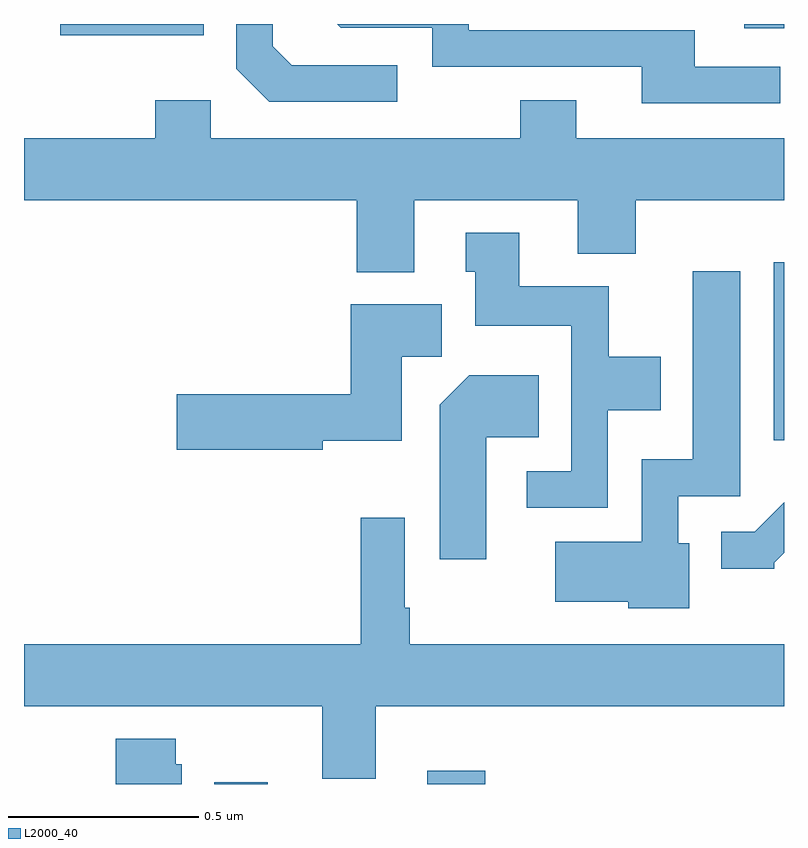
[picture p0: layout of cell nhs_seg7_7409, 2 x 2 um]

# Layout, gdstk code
import gdstk
lib = gdstk.Library(unit=1e-6, precision=1e-09)
def R(c, l, rs):  # rectangles x0, y0, x1, y1
    for r in rs: c.add(gdstk.rectangle(r[:2], r[2:], *l))
def P(c, l, *ps):  # polygons
    for p in ps: c.add(gdstk.Polygon(p, *l))
L2000_40 = (2000, 40)

nhs_seg7_7409 = lib.new_cell('nhs_seg7_7409')
R(nhs_seg7_7409, L2000_40, [(210.5,1079,210.642,1079.005), (211.061,1079,211.214,1079.035), (211.973,1079.904,212,1080.373), (210.096,1080.971,210.473,1081), (211.895,1080.989,212,1081)])
P(nhs_seg7_7409, L2000_40, [(211.99,1080.888),(211.765,1080.888),(211.765,1080.984),(211.17,1080.984),(211.17,1081),(210.824,1081),(210.834,1080.99),(211.074,1080.99),(211.074,1080.888),(211.625,1080.888),(211.625,1080.792),(211.99,1080.792)],
  [(210.982,1080.891),(210.705,1080.891),(210.654,1080.942),(210.654,1081),(210.558,1081),(210.558,1080.882),(210.645,1080.795),(210.982,1080.795)],
  [(211.027,1080.536),(211.457,1080.536),(211.457,1080.395),(211.61,1080.395),(211.61,1080.536),(212,1080.536),(212,1080.7),(211.453,1080.7),(211.453,1080.799),(211.306,1080.799),(211.306,1080.7),(210.492,1080.7),(210.492,1080.799),(210.346,1080.799),(210.346,1080.7),(210,1080.7),(210,1080.536),(210.875,1080.536),(210.875,1080.347),(211.027,1080.347)],
  [(211.536,1079.984),(211.675,1079.984),(211.675,1080.124),(211.539,1080.124),(211.539,1080.31),(211.303,1080.31),(211.303,1080.451),(211.163,1080.451),(211.163,1080.348),(211.187,1080.348),(211.187,1080.206),(211.44,1080.206),(211.44,1079.823),(211.323,1079.823),(211.323,1079.727),(211.536,1079.727)],
  [(211.75,1079.634),(211.722,1079.634),(211.722,1079.757),(211.885,1079.757),(211.885,1080.349),(211.76,1080.349),(211.76,1079.854),(211.626,1079.854),(211.626,1079.638),(211.398,1079.638),(211.398,1079.48),(211.59,1079.48),(211.59,1079.462),(211.75,1079.462)],
  [(210.786,1079.903),(210.994,1079.903),(210.994,1080.124),(211.099,1080.124),(211.099,1080.262),(210.86,1080.262),(210.86,1080.026),(210.402,1080.026),(210.402,1079.879),(210.786,1079.879)],
  [(211.216,1079.912),(211.355,1079.912),(211.355,1080.076),(211.172,1080.076),(211.094,1079.998),(211.094,1079.592),(211.216,1079.592)],
  [(211.974,1079.582),(212,1079.608),(212,1079.741),(211.923,1079.664),(211.835,1079.664),(211.835,1079.567),(211.974,1079.567)],
  [(210.925,1079.204),(212,1079.204),(212,1079.368),(211.015,1079.368),(211.015,1079.464),(211.002,1079.464),(211.002,1079.701),(210.886,1079.701),(210.886,1079.368),(210,1079.368),(210,1079.204),(210.785,1079.204),(210.785,1079.014),(210.925,1079.014)],
  [(210.415,1079.052),(210.399,1079.052),(210.399,1079.119),(210.242,1079.119),(210.242,1079),(210.415,1079)])

lib.write_gds('nhs_seg7_7409.gds')
